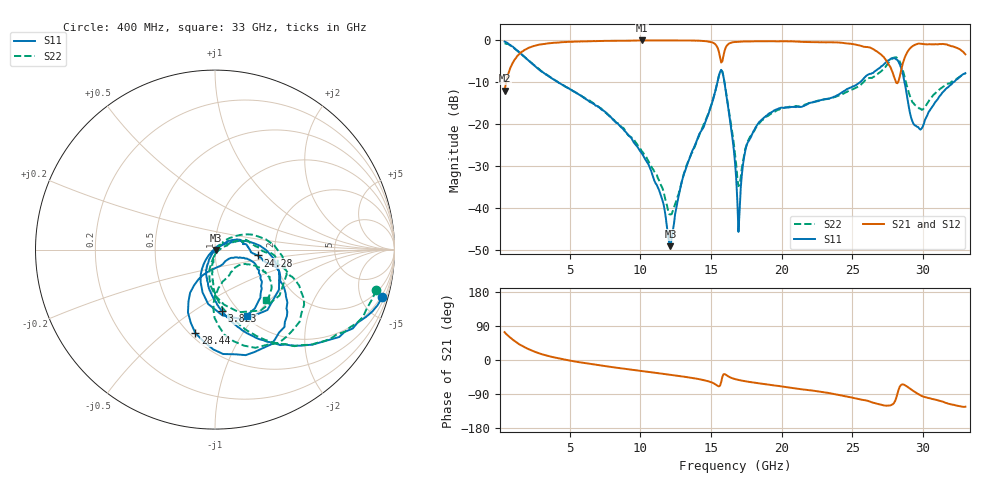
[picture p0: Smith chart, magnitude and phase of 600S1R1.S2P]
!  American Technical Ceramics  Date:  4/26/2005
!  One Norden Lane
!  Huntington Station,  NY.  11746-2102
!  Tel:  (631) 622-4700  Fax:  (631) 622-4748
!  Part Number  600S1R1  Mounting Orientation: Horizontal
!  Description: Ultra Low ESR Microwave capacitors
!  Application: Coupling, Bypass, Tuning, DC Block
!  Filters, Matching
# GHZ S DB R 50
! Freq  |S11|  S11 Ph  |S21|  S21 Ph  |S12|  S12 Ph  |S22|  S22 Ph
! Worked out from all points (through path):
!   401 points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, 400 MHz to 33 GHz, reference 50 ohm
!   highest |S21| = 0.00 dB at 10.1 GHz (marker M1); lowest = -12.0 dB at 400 MHz (marker M2)
!   group delay of S21, straight-line fit = 12.7 ps
!   lowest |S11| = -49.1 dB at 12.14 GHz (marker M3), VSWR 1.01, Z = 50.3 - j0.2 ohm
!   |S11| at or under -10 dB: 4.201 GHz to 15.46 GHz (11.26 GHz wide, 115 % of centre); 15.95 GHz to 25.54 GHz (9.584 GHz wide, 46.2 % of centre); 28.69 GHz to 32.14 GHz (3.446 GHz wide, 11.3 % of centre)
!   |S22| runs from -41.5 to -0.7 dB; largest |S21 - S12| = 0.013
!   S11 on the Smith chart (normalised r, x): 400 MHz: 0.81, -7.09; 3.823 GHz: 0.85, -0.66; 24.28 GHz: 1.62, -0.11; 28.44 GHz: 0.53, -0.64; 33 GHz: 1.03, -0.90
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0.4  -0.27 -15.9  -11.98 73.4  -12.22 75.5  -0.66 -14.2
1.46  -2.88 -48.2  -3.16 40.9  -3.15 41.4  -2.97 -48.6
3.823  -9.22 -83.4  -0.59 7.5  -0.58 7.4  -9.16 -80.5
5.861  -13.33 -99.2  -0.23 -6.8  -0.23 -6.7  -13.30 -92.2
10.099  -26.92 -122.3  0.00 -29.1  -0.01 -29.3  -26.43 -96.5
11.321  -35.67 -115.0  -0.01 -35.0  -0.01 -35.1  -33.36 -84.3
12.136  -49.11 -34.7  -0.01 -39.2  -0.01 -39.2  -41.53 -27.3
13.114  -31.64 34.2  -0.01 -44.2  -0.02 -44.3  -31.49 42.0
15.152  -14.10 12.7  -0.55 -60.8  -0.54 -60.7  -13.96 25.1
15.641  -7.53 -32.0  -4.00 -67.8  -3.96 -67.1  -7.48 -19.0
16.048  -12.09 -106.2  -1.66 -38.9  -1.64 -39.2  -11.90 -90.1
16.7  -29.12 -141.0  -0.37 -50.4  -0.35 -50.7  -27.04 -101.3
17.026  -40.71 72.9  -0.29 -53.1  -0.27 -53.4  -34.48 -20.4
17.434  -26.21 39.7  -0.23 -56.1  -0.23 -56.5  -25.78 19.9
18.33  -19.85 29.9  -0.20 -61.2  -0.26 -61.5  -20.04 23.3
22.161  -14.81 5.7  -0.40 -80.6  -0.37 -80.5  -14.72 16.5
24.28  -12.36 -7.7  -0.56 -94.1  -0.56 -94.0  -12.84 4.5
27.621  -4.68 -52.2  -5.96 -120.2  -5.94 -119.8  -4.98 -28.7
28.436  -6.42 -103.3  -7.40 -66.3  -7.37 -66.8  -5.67 -78.6
29.17  -18.54 -102.4  -1.60 -78.0  -1.62 -77.8  -14.07 -80.2
29.74  -21.06 -54.3  -0.75 -91.5  -0.77 -91.4  -16.25 -55.6
33  -7.80 -64.3  -3.31 -123.2  -3.31 -122.9  -7.97 -44.9
